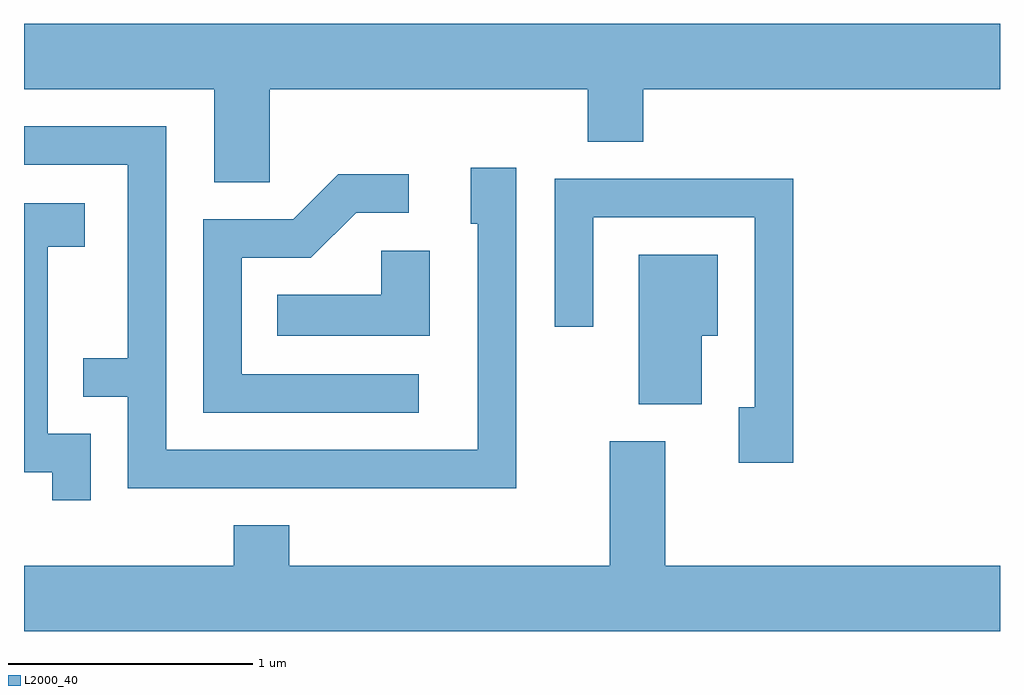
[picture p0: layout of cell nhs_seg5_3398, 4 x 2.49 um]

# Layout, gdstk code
import gdstk
lib = gdstk.Library(unit=1e-6, precision=1e-09)
def P(c, l, *ps):  # polygons
    for p in ps: c.add(gdstk.Polygon(p, *l))
L2000_40 = (2000, 40)

nhs_seg5_3398 = lib.new_cell('nhs_seg5_3398')
P(nhs_seg5_3398, L2000_40, [(286.619,1485.656),(287.921,1485.656),(287.921,1485.441),(288.149,1485.441),(288.149,1485.656),(289.611,1485.656),(289.611,1485.924),(285.611,1485.924),(285.611,1485.656),(286.391,1485.656),(286.391,1485.276),(286.619,1485.276)],
  [(287.629,1485.334),(287.441,1485.334),(287.441,1485.106),(287.471,1485.106),(287.471,1484.179),(286.194,1484.179),(286.194,1485.504),(285.611,1485.504),(285.611,1485.346),(286.036,1485.346),(286.036,1484.554),(285.853,1484.554),(285.853,1484.396),(286.036,1484.396),(286.036,1484.021),(287.629,1484.021)],
  [(287.228,1484.489),(286.504,1484.489),(286.504,1484.966),(286.787,1484.966),(286.972,1485.151),(287.188,1485.151),(287.188,1485.309),(286.899,1485.309),(286.714,1485.124),(286.346,1485.124),(286.346,1484.331),(287.228,1484.331)],
  [(288.764,1485.289),(287.786,1485.289),(287.786,1484.683),(287.944,1484.683),(287.944,1485.131),(288.606,1485.131),(288.606,1484.354),(288.541,1484.354),(288.541,1484.126),(288.764,1484.126)],
  [(285.884,1484.244),(285.709,1484.244),(285.709,1485.011),(285.859,1485.011),(285.859,1485.189),(285.611,1485.189),(285.611,1484.086),(285.726,1484.086),(285.726,1483.973),(285.884,1483.973)],
  [(287.274,1484.994),(287.076,1484.994),(287.076,1484.814),(286.648,1484.814),(286.648,1484.646),(287.274,1484.646)],
  [(288.389,1484.646),(288.454,1484.646),(288.454,1484.979),(288.131,1484.979),(288.131,1484.366),(288.389,1484.366)],
  [(289.611,1483.704),(288.239,1483.704),(288.239,1484.214),(288.011,1484.214),(288.011,1483.704),(286.699,1483.704),(286.699,1483.869),(286.471,1483.869),(286.471,1483.704),(285.611,1483.704),(285.611,1483.436),(289.611,1483.436)])

lib.write_gds('nhs_seg5_3398.gds')
